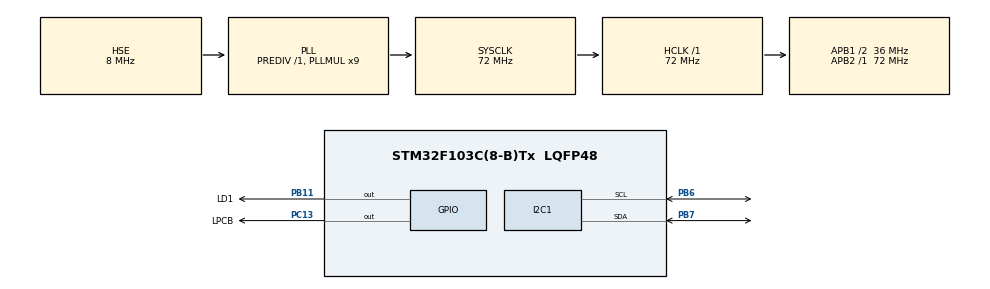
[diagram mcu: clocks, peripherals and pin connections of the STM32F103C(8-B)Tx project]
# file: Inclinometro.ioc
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Mcu.Family=STM32F1
Mcu.Name=STM32F103C(8-B)Tx
Mcu.Package=LQFP48
NVIC.PriorityGroup=NVIC_PRIORITYGROUP_4
NVIC.TIM3_IRQn=true\:0\:0\:false\:false\:true\:true\:true\:true
PA13.Mode=Serial_Wire
PA13.Signal=SYS_JTMS-SWDIO
PA14.Mode=Serial_Wire
PA14.Signal=SYS_JTCK-SWCLK
PB11.GPIO_Label=LD1
PB11.GPIO_ModeDefaultOutputPP=GPIO_MODE_OUTPUT_OD
PB11.GPIO_PuPd=GPIO_NOPULL
PB11.GPIO_Speed=GPIO_SPEED_FREQ_HIGH
PB11.PinState=GPIO_PIN_RESET
PB11.Signal=GPIO_Output
PB6.Mode=I2C
PB6.Signal=I2C1_SCL
PB7.Mode=I2C
PB7.Signal=I2C1_SDA
PC13-TAMPER-RTC.GPIO_Label=LPCB
PC13-TAMPER-RTC.GPIO_ModeDefaultOutputPP=GPIO_MODE_OUTPUT_OD
PC13-TAMPER-RTC.GPIO_PuPd=GPIO_NOPULL
PC13-TAMPER-RTC.GPIO_Speed=GPIO_SPEED_FREQ_HIGH
PC13-TAMPER-RTC.Signal=GPIO_Output
PD0-OSC_IN.Mode=HSE-External-Oscillator
PD0-OSC_IN.Signal=RCC_OSC_IN
PD1-OSC_OUT.Mode=HSE-External-Oscillator
PD1-OSC_OUT.Signal=RCC_OSC_OUT
ProjectManager.HeapSize=0x200
ProjectManager.StackSize=0x400
ProjectManager.TargetToolchain=STM32CubeIDE
RCC.AHBFreq_Value=72000000
RCC.APB1CLKDivider=RCC_HCLK_DIV2
RCC.APB1Freq_Value=36000000
RCC.APB1TimFreq_Value=72000000
RCC.APB2Freq_Value=72000000
RCC.APB2TimFreq_Value=72000000
RCC.HCLKFreq_Value=72000000
RCC.PLLMUL=RCC_PLL_MUL9
RCC.PLLSourceVirtual=RCC_PLLSOURCE_HSE
RCC.SYSCLKFreq_VALUE=72000000
RCC.SYSCLKSource=RCC_SYSCLKSOURCE_PLLCLK
RCC.USBFreq_Value=72000000
TIM3.Period=249
TIM3.Prescaler=287
VP_TIM3_VS_ClockSourceINT.Mode=Internal
board=custom

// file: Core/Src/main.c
/* USER CODE BEGIN Header */
/**
 ******************************************************************************
 * @file           : main.c
 * @brief          : Main program body
 ******************************************************************************
 * @attention
 *
 * Copyright (c) 2023 STMicroelectronics.
 * All rights reserved.
 *
 * This software is licensed under terms that can be found in the LICENSE file
 * in the root directory of this software component.
 * If no LICENSE file comes with this software, it is provided AS-IS.
 *
 ******************************************************************************
 */
/* USER CODE END Header */
#include "main.h"

/* USER CODE BEGIN Includes */
#include <stdint.h>
#include <stdio.h>
#include <OLED_Fonts.h>
#include <OLED_Icons.h>
#include <OLED.h>
#include <mpu6050.h>
#include <math.h>
/* USER CODE END Includes */

/* USER CODE BEGIN PD */
#define NUM_MEDIDAS 60				//define o número de medidas que serão utilizadas para calcular a média móvel. Neste caso, estamos utilizando um buffer com 20 medidas.
#define PI	3.14159265
#define RAD_TO_DEG	(180/PI)		//fator de conversao de radianos para graus
/*-------------------*/
/*-------------------*/
/* USER CODE END PD */

I2C_HandleTypeDef hi2c1;

TIM_HandleTypeDef htim3;

/* USER CODE BEGIN PV */
// Kalman structure

float mediamovelXAC[60] = {0x00}; //BUFFER QUE GUARDAR OS VALORES DA MEDIA MOVEL /*AO INICIAR APENAS UMA POSIÇÃO DO VETOR OS DEMAIS SERÃO INICIADOS EM 0X00 AUTOMATICAMENTE PELO COMPILADOR*/
float mediamovelYAC[60] = {0x00}; //BUFFER QUE GUARDAR OS VALORES DA MEDIA MOVEL /*AO INICIAR APENAS UMA POSIÇÃO DO VETOR OS DEMAIS SERÃO INICIADOS EM 0X00 AUTOMATICAMENTE PELO COMPILADOR*/
float mediamovelZAC[60] = {0x00}; //BUFFER QUE GUARDAR OS VALORES DA MEDIA MOVEL /*AO INICIAR APENAS UMA POSIÇÃO DO VETOR OS DEMAIS SERÃO INICIADOS EM 0X00 AUTOMATICAMENTE PELO COMPILADOR*/
float mediamovelXGY[60] = {0x00}; //BUFFER QUE GUARDAR OS VALORES DA MEDIA MOVEL /*AO INICIAR APENAS UMA POSIÇÃO DO VETOR OS DEMAIS SERÃO INICIADOS EM 0X00 AUTOMATICAMENTE PELO COMPILADOR*/
float mediamovelYGY[60] = {0x00}; //BUFFER QUE GUARDAR OS VALORES DA MEDIA MOVEL /*AO INICIAR APENAS UMA POSIÇÃO DO VETOR OS DEMAIS SERÃO INICIADOS EM 0X00 AUTOMATICAMENTE PELO COMPILADOR*/
float mediamovelZGY[60] = {0x00}; //BUFFER QUE GUARDAR OS VALORES DA MEDIA MOVEL /*AO INICIAR APENAS UMA POSIÇÃO DO VETOR OS DEMAIS SERÃO INICIADOS EM 0X00 AUTOMATICAMENTE PELO COMPILADOR*/
float 	X_DataAC,
/*----*/Y_DataAC,
/*----*/Z_DataAC,
/*----*/X_DataGY,
/*----*/Y_DataGY,
/*----*/Z_DataGY=0x00;
float 	somaXAC,
/*----*/somaYAC,
/*----*/somaZAC,
/*----*/somaXGY,
/*----*/somaYGY,
/*----*/somaZGY = 0x00;
float 	X_MedAC,
/*----*/Y_MedAC,
/*----*/Z_MedAC,
/*----*/X_MedGY,
/*----*/Y_MedGY,
/*----*/Z_MedGY=0x00;
float	X_MedFC,
/*----*/Y_MedFC,
/*----*/Z_MedFC=0x00;
float 	roll,
/*----*/pitch = 0x00;
uint16_t cont[8];
uint8_t initflag = 0x00;
int		indexbuffXAC,   //INDEXADOR PARA AUXILIAR NA ALOCAÇÃO DE UM NOVO VALOR NO BUFFER DA MEDIA MOVEL
/*----*/indexbuffYAC,
/*----*/indexbuffZAC,
/*----*/indexbuffXGY,
/*----*/indexbuffYGY,
/*----*/indexbuffZGY = 0x00;
uint8_t init = 0x00;
char eixox[18];
char eixoy[18];
char eixoR[18];
char eixoP[19];
char eixoz[18];

MPU6050_t MPU6050; //REFERENCIAMENTO DA ESTRUTURA DE DADOS DO SENSOR
/* USER CODE END PV */

void SystemClock_Config(void);
static void MX_GPIO_Init(void);
static void MX_I2C1_Init(void);
static void MX_TIM3_Init(void);
/* USER CODE BEGIN PFP */
void initdisp(void);
float media_movel(float novo_valor, float *buffer, int *index, float *soma);
void captura_dados(void);
float roll_angle(float acc_x, float acc_y, float acc_z);
float pitch_angle(float acc_x, float acc_y, float acc_z);
void dados_conv(void);
double Kalman_getAngle(Kalman_t *Kalman, double newAngle, double newRate, double dt);
float filtroComplementar(float gyro, float accel, float dt, float alpha);
/* USER CODE END PFP */

/* USER CODE BEGIN 0 */
void HAL_TIM_PeriodElapsedCallback (TIM_HandleTypeDef * htim){//ENDEREÇO DE HTIM COMO PARAMETRO
	if(htim->Instance == TIM3){ 	//IRA LER O MEMBRO DA ESTRUTURA APONTADO PELO PONTEIRO PASSADO COMO ARGUMENTO (*htim/nome da estrutura) DA FUNC CALL BACK
		cont[0]++;							/*FUNÇÃO DE TRATAMENTO DE INTERRUPÇÃO POR OVERFLOW TIMER3*/ /*Instance É A FLAG QUE INDICA QUAL TIMER GEROU A INTERRUPÇÃO*/
		cont[1]++;							/*DELAYS POR INTERRUPÇÃO - CONTADORES*/
		cont[2]++;
		if(cont[0]>=4 && init){
			captura_dados();
			HAL_GPIO_TogglePin(LD1_GPIO_Port, LD1_Pin);
			HAL_GPIO_TogglePin(LPCB_GPIO_Port, LPCB_Pin);
			cont[0] = 0;
		}
		if(cont[1] >= 250 && init){
			/*HAL_GPIO_TogglePin(LD1_GPIO_Port, LD1_Pin);
			HAL_GPIO_TogglePin(LPCB_GPIO_Port, LPCB_Pin);*/
			cont[1]=0;
		}
		if(cont[2]>=100 && init){
			dados_conv();
			cont[2] = 0;
		}
	}
}
void initdisp(void){
	OLED_Clear(0);
	OLED_DrawXBM(0 , 0, logov2);
	OLED_UpdateScreen();
	HAL_Delay(2500);
}
float media_movel(float novo_valor, float *buffer, int *index, float *soma){/*Um filtro de média móvel simples pode ser usado para suavizar os dados brutos e reduzir o ruído. Este filtro calcula a média de um número fixo de medidas recentes.*/
	//static float soma = 0;					//*O uso do static faz com que a variável mantenha seu valor entre as chamadas da função.*//

	*soma += novo_valor - buffer[*index];	//*Atualizamos a soma adicionando o novo valor medido e subtraindo o valor mais antigo do buffer (aquele no índice atual)*//
	buffer[*index] = novo_valor;			//*Atualizamos o buffer na posição atual (*index) com o novo valor medido.*//
	*index = (*index + 1) % NUM_MEDIDAS;	//*Atualizamos o índice para apontar para a próxima posição no buffer, garantindo que ele circule dentro do tamanho do buffer definido por NUM_MEDIDAS. *//
	//*Usamos o operador % (módulo) para garantir que o índice permaneça dentro dos limites do buffer.*//
	return *soma / NUM_MEDIDAS;
}
void captura_dados(void){ //*CAPTURA OS DADOS DE ACELERAÇÃO E GIROSCOPIO BRUTOS E APLICA A MEDIA MOVEL *//
	while (MPU6050_Init(&hi2c1) == 1);
	MPU6050_Read_Accel(&hi2c1, &MPU6050);
	X_DataAC = MPU6050.Ax; //----->
	Y_DataAC = MPU6050.Ay; //----->
	Z_DataAC = MPU6050.Az; //----->
	X_MedAC = media_movel(X_DataAC, mediamovelXAC, &indexbuffXAC, &somaXAC);
	Y_MedAC = media_movel(Y_DataAC, mediamovelYAC, &indexbuffYAC, &somaYAC);
	Z_MedAC = media_movel(Z_DataAC, mediamovelZAC, &indexbuffZAC, &somaZAC);
	MPU6050_Read_Gyro(&hi2c1, &MPU6050);
	X_DataGY = MPU6050.Gx; //----->
	Y_DataGY = MPU6050.Gy; //----->
	Z_DataGY = MPU6050.Gz; //----->
	X_MedGY = media_movel(X_DataGY, mediamovelXGY, &indexbuffXGY, &somaXGY);
	Y_MedGY = media_movel(Y_DataGY, mediamovelYGY, &indexbuffYGY, &somaYGY);
	Z_MedGY = media_movel(Z_DataGY, mediamovelZGY, &indexbuffZGY, &somaZGY);
}
float roll_angle(float acc_x, float acc_y, float acc_z) { //CALCULA O ANGULO COM OS VALORES FILTRADOS PELA MEDIA MOVEL
	return atan2(acc_y, acc_z) * RAD_TO_DEG;
}
float pitch_angle(float acc_x, float acc_y, float acc_z) {//CALCULA O ANGULO COM OS VALORES FILTRADOS PELA MEDIA MOVEL
	return atan2(-acc_x, sqrt(acc_y * acc_y + acc_z * acc_z)) * RAD_TO_DEG;
}
void dados_conv(void){
	roll = roll_angle(X_MedAC, Y_MedAC, Z_MedAC);
	pitch = pitch_angle(X_MedAC, Y_MedAC, Z_MedAC);
	kalman_calc(X_MedGY, Y_MedGY, roll, pitch, &MPU6050);
	sprintf(eixox,"Eixo x: %.1f*", MPU6050.KalmanAngleX);
	sprintf(eixoy,"Eixo y: %.1f*", MPU6050.KalmanAngleY);
	sprintf(eixoR,"ROLL x: %.1f°", roll);
	sprintf(eixoP,"PITCH y: %.1f°", pitch);
	OLED_Clear(0);
	FontSet(Lucida_12);
	OLED_DrawStr(eixox, 1, 1, 1);
	OLED_DrawStr(eixoy, 1, 18, 1);
	OLED_DrawStr(eixoR, 1, 35, 1);
	OLED_DrawStr(eixoP, 1, 50, 1);
	OLED_UpdateScreen();
}
/* USER CODE END 0 */

int main(void)
{

	/* MCU Configuration--------------------------------------------------------*/

	/* Reset of all peripherals, Initializes the Flash interface and the Systick. */
	HAL_Init();

	/* Configure the system clock */
	SystemClock_Config();

	/* Initialize all configured peripherals */
	MX_GPIO_Init();
	MX_I2C1_Init();
	MX_TIM3_Init();
	/* USER CODE BEGIN 2 */
	HAL_TIM_Base_Start_IT(&htim3); //INCIA TIMER3 COM INTERRUPÇÃO NO OVERFLO
	while (MPU6050_Init(&hi2c1) == 1);
	OLED_Init(&hi2c1); //INICIANDO DISPLAY PELA I2C
	/*------------------------------------------------------*/
	OLED_Clear(0);
	OLED_UpdateScreen();
	initdisp();
	OLED_Clear(0);
	OLED_UpdateScreen();
	init = 1;
	/* USER CODE END 2 */

	/* Infinite loop */
	while (1)
	{

		/* USER CODE BEGIN 3 */
		dados_conv();
		HAL_Delay(100);
	}
	/* USER CODE END 3 */
}

void SystemClock_Config(void)
{
	RCC_OscInitTypeDef RCC_OscInitStruct = {0};
	RCC_ClkInitTypeDef RCC_ClkInitStruct = {0};

	/** Initializes the RCC Oscillators according to the specified parameters
	 * in the RCC_OscInitTypeDef structure.
	 */
	RCC_OscInitStruct.OscillatorType = RCC_OSCILLATORTYPE_HSE;
	RCC_OscInitStruct.HSEState = RCC_HSE_ON;
	RCC_OscInitStruct.HSEPredivValue = RCC_HSE_PREDIV_DIV1;
	RCC_OscInitStruct.HSIState = RCC_HSI_ON;
	RCC_OscInitStruct.PLL.PLLState = RCC_PLL_ON;
	RCC_OscInitStruct.PLL.PLLSource = RCC_PLLSOURCE_HSE;
	RCC_OscInitStruct.PLL.PLLMUL = RCC_PLL_MUL9;
	if (HAL_RCC_OscConfig(&RCC_OscInitStruct) != HAL_OK)
	{
		Error_Handler();
	}

	/** Initializes the CPU, AHB and APB buses clocks
	 */
	RCC_ClkInitStruct.ClockType = RCC_CLOCKTYPE_HCLK|RCC_CLOCKTYPE_SYSCLK
			|RCC_CLOCKTYPE_PCLK1|RCC_CLOCKTYPE_PCLK2;
	RCC_ClkInitStruct.SYSCLKSource = RCC_SYSCLKSOURCE_PLLCLK;
	RCC_ClkInitStruct.AHBCLKDivider = RCC_SYSCLK_DIV1;
	RCC_ClkInitStruct.APB1CLKDivider = RCC_HCLK_DIV2;
	RCC_ClkInitStruct.APB2CLKDivider = RCC_HCLK_DIV1;

	if (HAL_RCC_ClockConfig(&RCC_ClkInitStruct, FLASH_LATENCY_2) != HAL_OK)
	{
		Error_Handler();
	}
}

static void MX_I2C1_Init(void)
{

	hi2c1.Instance = I2C1;
	hi2c1.Init.ClockSpeed = 100000;
	hi2c1.Init.DutyCycle = I2C_DUTYCYCLE_2;
	hi2c1.Init.OwnAddress1 = 0;
	hi2c1.Init.AddressingMode = I2C_ADDRESSINGMODE_7BIT;
	hi2c1.Init.DualAddressMode = I2C_DUALADDRESS_DISABLE;
	hi2c1.Init.OwnAddress2 = 0;
	hi2c1.Init.GeneralCallMode = I2C_GENERALCALL_DISABLE;
	hi2c1.Init.NoStretchMode = I2C_NOSTRETCH_DISABLE;
	if (HAL_I2C_Init(&hi2c1) != HAL_OK)
	{
		Error_Handler();
	}

}

static void MX_TIM3_Init(void)
{

	TIM_ClockConfigTypeDef sClockSourceConfig = {0};
	TIM_MasterConfigTypeDef sMasterConfig = {0};

	htim3.Instance = TIM3;
	htim3.Init.Prescaler = 287;
	htim3.Init.CounterMode = TIM_COUNTERMODE_UP;
	htim3.Init.Period = 249;
	htim3.Init.ClockDivision = TIM_CLOCKDIVISION_DIV1;
	htim3.Init.AutoReloadPreload = TIM_AUTORELOAD_PRELOAD_DISABLE;
	if (HAL_TIM_Base_Init(&htim3) != HAL_OK)
	{
		Error_Handler();
	}
	sClockSourceConfig.ClockSource = TIM_CLOCKSOURCE_INTERNAL;
	if (HAL_TIM_ConfigClockSource(&htim3, &sClockSourceConfig) != HAL_OK)
	{
		Error_Handler();
	}
	sMasterConfig.MasterOutputTrigger = TIM_TRGO_RESET;
	sMasterConfig.MasterSlaveMode = TIM_MASTERSLAVEMODE_DISABLE;
	if (HAL_TIMEx_MasterConfigSynchronization(&htim3, &sMasterConfig) != HAL_OK)
	{
		Error_Handler();
	}

}

static void MX_GPIO_Init(void)
{
	GPIO_InitTypeDef GPIO_InitStruct = {0};

	/* GPIO Ports Clock Enable */
	__HAL_RCC_GPIOC_CLK_ENABLE();
	__HAL_RCC_GPIOD_CLK_ENABLE();
	__HAL_RCC_GPIOB_CLK_ENABLE();
	__HAL_RCC_GPIOA_CLK_ENABLE();

	/*Configure GPIO pin Output Level */
	HAL_GPIO_WritePin(LPCB_GPIO_Port, LPCB_Pin, GPIO_PIN_RESET);

	/*Configure GPIO pin Output Level */
	HAL_GPIO_WritePin(LD1_GPIO_Port, LD1_Pin, GPIO_PIN_RESET);

	/*Configure GPIO pin : LPCB_Pin */
	GPIO_InitStruct.Pin = LPCB_Pin;
	GPIO_InitStruct.Mode = GPIO_MODE_OUTPUT_OD;
	GPIO_InitStruct.Pull = GPIO_NOPULL;
	GPIO_InitStruct.Speed = GPIO_SPEED_FREQ_HIGH;
	HAL_GPIO_Init(LPCB_GPIO_Port, &GPIO_InitStruct);

	/*Configure GPIO pin : LD1_Pin */
	GPIO_InitStruct.Pin = LD1_Pin;
	GPIO_InitStruct.Mode = GPIO_MODE_OUTPUT_OD;
	GPIO_InitStruct.Pull = GPIO_NOPULL;
	GPIO_InitStruct.Speed = GPIO_SPEED_FREQ_HIGH;
	HAL_GPIO_Init(LD1_GPIO_Port, &GPIO_InitStruct);

}

void Error_Handler(void)
{
	__disable_irq();
	while (1)
	{
	}
}
